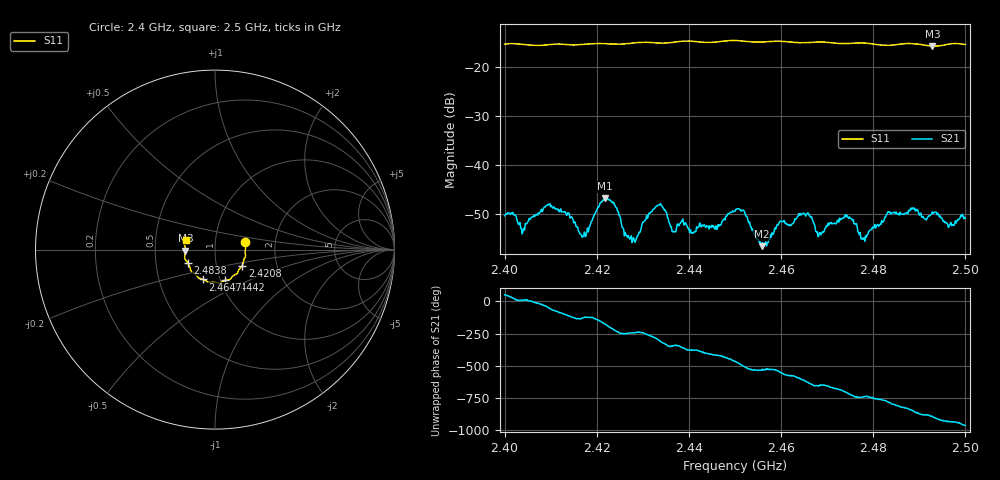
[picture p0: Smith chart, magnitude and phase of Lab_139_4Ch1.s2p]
# Hz S RI R 50
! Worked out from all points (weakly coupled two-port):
!   601 points, 2.4 GHz to 2.5 GHz, reference 50 ohm
!   highest |S21| = -46.79 dB at 2.4218 GHz (marker M1); lowest = -56.6 dB at 2.4558 GHz (marker M2)
!   lowest |S11| = -15.6 dB at 2.4928 GHz (marker M3), VSWR 1.40, Z = 35.8 - j0.416 ohm
!   |S11| at or under -10 dB: start of sweep to end of sweep
!   S12 and S22 are empty: the file has one direction only
!   S11 on the Smith chart (normalised r, x): 2.4 GHz: 1.40, +0.12; 2.4208 GHz: 1.33, -0.24; 2.4442 GHz: 1.05, -0.37; 2.4647 GHz: 0.83, -0.29; 2.4838 GHz: 0.73, -0.11; 2.5 GHz: 0.71, +0.08
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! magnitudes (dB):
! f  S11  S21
! 2.4 GHz  -15.2  -50.4
! 2.404 GHz  -15.3  -53.5
! 2.4097 GHz  -15.3  -48.2
! 2.4167 GHz  -15.3  -54.3
! 2.4208 GHz  -15.1  -47.8
! 2.4218 GHz  -15.1  -46.8
! 2.4282 GHz  -15.0  -55.6
! 2.4333 GHz  -15.0  -48.2
! 2.4367 GHz  -14.8  -53.6
! 2.4442 GHz  -14.9  -52.6
! 2.45 GHz  -14.5  -49.5
! 2.4522 GHz  -14.6  -49.9
! 2.4558 GHz  -14.8  -56.6
! 2.4647 GHz  -14.9  -49.9
! 2.4667 GHz  -14.8  -50.7
! 2.4685 GHz  -14.8  -53.9
! 2.4743 GHz  -15.1  -50.3
! 2.4778 GHz  -15.0  -55.2
! 2.4833 GHz  -15.5  -49.6
! 2.4838 GHz  -15.4  -50.1
! 2.4928 GHz  -15.6  -49.6
! 2.5 GHz  -15.3  -50.9
